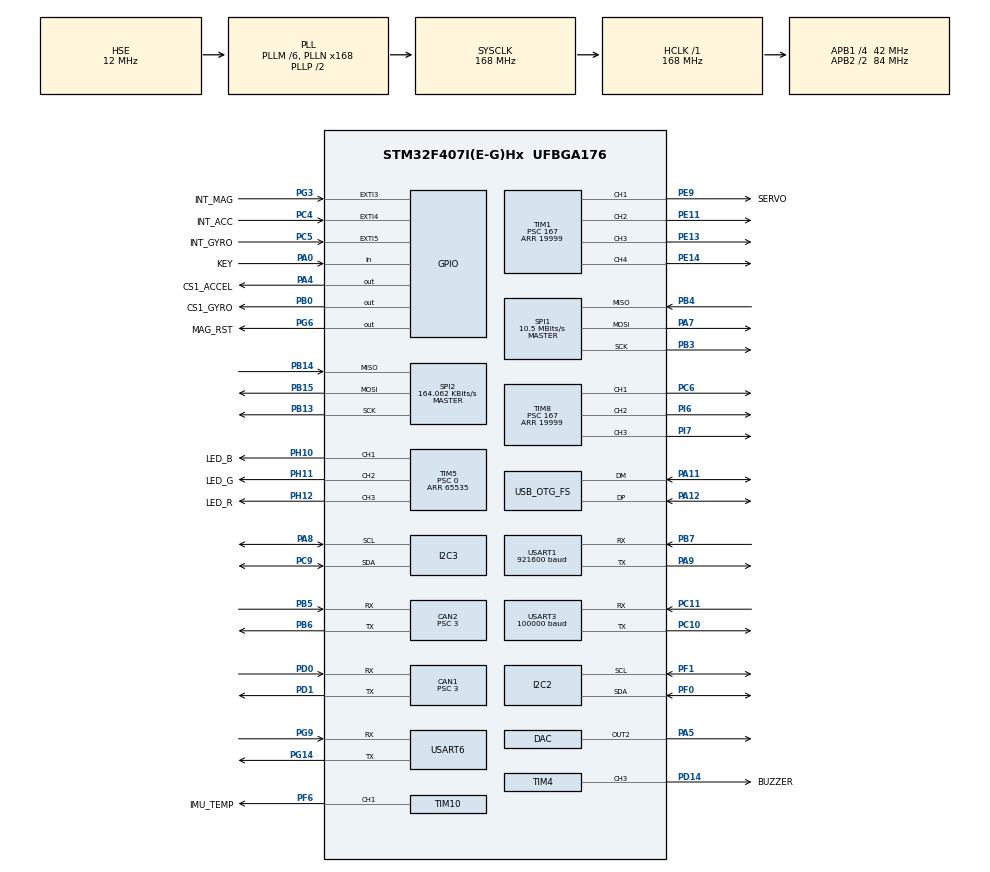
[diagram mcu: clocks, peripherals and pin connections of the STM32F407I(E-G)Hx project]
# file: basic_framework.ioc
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ADC1.Channel-0\#ChannelRegularConversion=ADC_CHANNEL_TEMPSENSOR
ADC1.ClockPrescaler=ADC_CLOCK_SYNC_PCLK_DIV6
ADC1.NbrOfConversionFlag=1
ADC1.Rank-0\#ChannelRegularConversion=1
ADC1.SamplingTime-0\#ChannelRegularConversion=ADC_SAMPLETIME_3CYCLES
ADC1.master=1
CAN1.BS1=CAN_BS1_10TQ
CAN1.BS2=CAN_BS2_3TQ
CAN1.CalculateBaudRate=1000000
CAN1.CalculateTimeQuantum=71.42857142857143
CAN1.NART=ENABLE
CAN1.Prescaler=3
CAN1.TXFP=ENABLE
CAN2.BS1=CAN_BS1_10TQ
CAN2.BS2=CAN_BS2_3TQ
CAN2.CalculateBaudRate=1000000
CAN2.CalculateTimeQuantum=71.42857142857143
CAN2.NART=ENABLE
CAN2.Prescaler=3
CAN2.TXFP=ENABLE
Dma.I2C2_RX.6.Direction=DMA_PERIPH_TO_MEMORY
Dma.I2C2_RX.6.FIFOMode=DMA_FIFOMODE_DISABLE
Dma.I2C2_RX.6.Instance=DMA1_Stream2
Dma.I2C2_RX.6.MemDataAlignment=DMA_MDATAALIGN_BYTE
Dma.I2C2_RX.6.MemInc=DMA_MINC_ENABLE
Dma.I2C2_RX.6.Mode=DMA_NORMAL
Dma.I2C2_RX.6.PeriphDataAlignment=DMA_PDATAALIGN_BYTE
Dma.I2C2_RX.6.PeriphInc=DMA_PINC_DISABLE
Dma.I2C2_RX.6.Priority=DMA_PRIORITY_LOW
Dma.I2C2_TX.7.Direction=DMA_MEMORY_TO_PERIPH
Dma.I2C2_TX.7.FIFOMode=DMA_FIFOMODE_DISABLE
Dma.I2C2_TX.7.Instance=DMA1_Stream7
Dma.I2C2_TX.7.MemDataAlignment=DMA_MDATAALIGN_BYTE
Dma.I2C2_TX.7.MemInc=DMA_MINC_ENABLE
Dma.I2C2_TX.7.Mode=DMA_NORMAL
Dma.I2C2_TX.7.PeriphDataAlignment=DMA_PDATAALIGN_BYTE
Dma.I2C2_TX.7.PeriphInc=DMA_PINC_DISABLE
Dma.I2C2_TX.7.Priority=DMA_PRIORITY_LOW
Dma.Request0=USART6_RX
Dma.Request1=USART6_TX
Dma.Request2=USART1_TX
Dma.Request3=USART1_RX
Dma.Request4=SPI1_RX
Dma.Request5=USART3_RX
Dma.Request6=I2C2_RX
Dma.Request7=I2C2_TX
Dma.Request8=SPI1_TX
Dma.SPI1_RX.4.Direction=DMA_PERIPH_TO_MEMORY
Dma.SPI1_RX.4.FIFOMode=DMA_FIFOMODE_ENABLE
Dma.SPI1_RX.4.FIFOThreshold=DMA_FIFO_THRESHOLD_FULL
Dma.SPI1_RX.4.Instance=DMA2_Stream0
Dma.SPI1_RX.4.MemBurst=DMA_MBURST_SINGLE
Dma.SPI1_RX.4.MemDataAlignment=DMA_MDATAALIGN_BYTE
Dma.SPI1_RX.4.MemInc=DMA_MINC_ENABLE
Dma.SPI1_RX.4.Mode=DMA_NORMAL
Dma.SPI1_RX.4.PeriphBurst=DMA_PBURST_SINGLE
Dma.SPI1_RX.4.PeriphDataAlignment=DMA_PDATAALIGN_BYTE
Dma.SPI1_RX.4.PeriphInc=DMA_PINC_DISABLE
Dma.SPI1_RX.4.Priority=DMA_PRIORITY_HIGH
Dma.SPI1_TX.8.Direction=DMA_MEMORY_TO_PERIPH
Dma.SPI1_TX.8.FIFOMode=DMA_FIFOMODE_DISABLE
Dma.SPI1_TX.8.Instance=DMA2_Stream3
Dma.SPI1_TX.8.MemDataAlignment=DMA_MDATAALIGN_BYTE
Dma.SPI1_TX.8.MemInc=DMA_MINC_ENABLE
Dma.SPI1_TX.8.Mode=DMA_NORMAL
Dma.SPI1_TX.8.PeriphDataAlignment=DMA_PDATAALIGN_BYTE
Dma.SPI1_TX.8.PeriphInc=DMA_PINC_DISABLE
Dma.SPI1_TX.8.Priority=DMA_PRIORITY_HIGH
Dma.USART1_RX.3.Direction=DMA_PERIPH_TO_MEMORY
Dma.USART1_RX.3.FIFOMode=DMA_FIFOMODE_DISABLE
Dma.USART1_RX.3.Instance=DMA2_Stream5
Dma.USART1_RX.3.MemDataAlignment=DMA_MDATAALIGN_BYTE
Dma.USART1_RX.3.MemInc=DMA_MINC_ENABLE
Dma.USART1_RX.3.Mode=DMA_NORMAL
Dma.USART1_RX.3.PeriphDataAlignment=DMA_PDATAALIGN_BYTE
Dma.USART1_RX.3.PeriphInc=DMA_PINC_DISABLE
Dma.USART1_RX.3.Priority=DMA_PRIORITY_VERY_HIGH
Dma.USART1_TX.2.Direction=DMA_MEMORY_TO_PERIPH
Dma.USART1_TX.2.FIFOMode=DMA_FIFOMODE_DISABLE
Dma.USART1_TX.2.Instance=DMA2_Stream7
Dma.USART1_TX.2.MemDataAlignment=DMA_MDATAALIGN_BYTE
Dma.USART1_TX.2.MemInc=DMA_MINC_ENABLE
Dma.USART1_TX.2.Mode=DMA_NORMAL
Dma.USART1_TX.2.PeriphDataAlignment=DMA_PDATAALIGN_BYTE
Dma.USART1_TX.2.PeriphInc=DMA_PINC_DISABLE
Dma.USART1_TX.2.Priority=DMA_PRIORITY_VERY_HIGH
Dma.USART3_RX.5.Direction=DMA_PERIPH_TO_MEMORY
Dma.USART3_RX.5.FIFOMode=DMA_FIFOMODE_DISABLE
Dma.USART3_RX.5.Instance=DMA1_Stream1
Dma.USART3_RX.5.MemDataAlignment=DMA_MDATAALIGN_BYTE
Dma.USART3_RX.5.MemInc=DMA_MINC_ENABLE
Dma.USART3_RX.5.Mode=DMA_NORMAL
Dma.USART3_RX.5.PeriphDataAlignment=DMA_PDATAALIGN_BYTE
Dma.USART3_RX.5.PeriphInc=DMA_PINC_DISABLE
Dma.USART3_RX.5.Priority=DMA_PRIORITY_LOW
Dma.USART6_RX.0.Direction=DMA_PERIPH_TO_MEMORY
Dma.USART6_RX.0.FIFOMode=DMA_FIFOMODE_ENABLE
Dma.USART6_RX.0.FIFOThreshold=DMA_FIFO_THRESHOLD_FULL
Dma.USART6_RX.0.Instance=DMA2_Stream2
Dma.USART6_RX.0.MemBurst=DMA_MBURST_SINGLE
Dma.USART6_RX.0.MemDataAlignment=DMA_MDATAALIGN_BYTE
Dma.USART6_RX.0.MemInc=DMA_MINC_ENABLE
Dma.USART6_RX.0.Mode=DMA_NORMAL
Dma.USART6_RX.0.PeriphBurst=DMA_PBURST_SINGLE
Dma.USART6_RX.0.PeriphDataAlignment=DMA_PDATAALIGN_BYTE
Dma.USART6_RX.0.PeriphInc=DMA_PINC_DISABLE
Dma.USART6_RX.0.Priority=DMA_PRIORITY_HIGH
Dma.USART6_TX.1.Direction=DMA_MEMORY_TO_PERIPH
Dma.USART6_TX.1.FIFOMode=DMA_FIFOMODE_ENABLE
Dma.USART6_TX.1.FIFOThreshold=DMA_FIFO_THRESHOLD_FULL
Dma.USART6_TX.1.Instance=DMA2_Stream6
Dma.USART6_TX.1.MemBurst=DMA_MBURST_SINGLE
Dma.USART6_TX.1.MemDataAlignment=DMA_MDATAALIGN_BYTE
Dma.USART6_TX.1.MemInc=DMA_MINC_ENABLE
Dma.USART6_TX.1.Mode=DMA_NORMAL
Dma.USART6_TX.1.PeriphBurst=DMA_PBURST_SINGLE
Dma.USART6_TX.1.PeriphDataAlignment=DMA_PDATAALIGN_BYTE
Dma.USART6_TX.1.PeriphInc=DMA_PINC_DISABLE
Dma.USART6_TX.1.Priority=DMA_PRIORITY_HIGH
FREERTOS.INCLUDE_vTaskDelayUntil=1
FREERTOS.Tasks01=defaultTask,0,128,StartDefaultTask,Default,NULL,Dynamic,NULL,NULL
FREERTOS.configENABLE_FPU=1
FREERTOS.configMAX_TASK_NAME_LEN=32
FREERTOS.configTOTAL_HEAP_SIZE=20000
FREERTOS.configUSE_COUNTING_SEMAPHORES=1
FREERTOS.configUSE_POSIX_ERRNO=0
FREERTOS.configUSE_TIMERS=0
I2C2.I2C_Mode=I2C_Fast
I2C3.I2C_Mode=I2C_Fast
Mcu.Family=STM32F4
Mcu.Name=STM32F407I(E-G)Hx
Mcu.Package=UFBGA176
NVIC.CAN1_RX0_IRQn=true\:5\:0\:true\:false\:true\:true\:true\:true\:true
NVIC.CAN1_RX1_IRQn=true\:5\:0\:false\:false\:true\:true\:true\:true\:true
NVIC.CAN2_RX0_IRQn=true\:5\:0\:true\:false\:true\:true\:true\:true\:true
NVIC.CAN2_RX1_IRQn=true\:5\:0\:false\:false\:true\:true\:true\:true\:true
NVIC.DMA1_Stream1_IRQn=true\:5\:0\:false\:false\:true\:true\:false\:true\:true
NVIC.DMA1_Stream2_IRQn=true\:5\:0\:false\:false\:true\:true\:false\:true\:true
NVIC.DMA1_Stream7_IRQn=true\:5\:0\:false\:false\:true\:true\:false\:true\:true
NVIC.DMA2_Stream0_IRQn=true\:5\:0\:false\:false\:true\:false\:false\:true\:true
NVIC.DMA2_Stream2_IRQn=true\:5\:0\:false\:false\:true\:true\:false\:true\:true
NVIC.DMA2_Stream3_IRQn=true\:5\:0\:false\:false\:true\:false\:false\:true\:true
NVIC.DMA2_Stream5_IRQn=true\:5\:0\:false\:false\:true\:false\:false\:true\:true
NVIC.DMA2_Stream6_IRQn=true\:5\:0\:true\:false\:true\:true\:false\:true\:true
NVIC.DMA2_Stream7_IRQn=true\:5\:0\:true\:false\:true\:true\:false\:true\:true
NVIC.EXTI3_IRQn=true\:5\:0\:true\:false\:true\:true\:true\:true\:true
NVIC.EXTI4_IRQn=true\:5\:0\:false\:false\:true\:true\:true\:true\:true
NVIC.EXTI9_5_IRQn=true\:5\:0\:false\:false\:true\:true\:true\:true\:true
NVIC.FLASH_IRQn=true\:6\:0\:true\:false\:true\:true\:true\:true\:true
NVIC.I2C2_ER_IRQn=true\:5\:0\:false\:false\:true\:true\:true\:true\:true
NVIC.I2C2_EV_IRQn=true\:5\:0\:false\:false\:true\:true\:true\:true\:true
NVIC.I2C3_ER_IRQn=true\:5\:0\:false\:false\:true\:true\:true\:true\:true
NVIC.I2C3_EV_IRQn=true\:5\:0\:false\:false\:true\:true\:true\:true\:true
NVIC.OTG_FS_IRQn=true\:5\:0\:false\:false\:true\:true\:false\:true\:true
NVIC.PriorityGroup=NVIC_PRIORITYGROUP_4
NVIC.SPI1_IRQn=true\:5\:0\:false\:false\:true\:true\:true\:true\:true
NVIC.SPI2_IRQn=true\:5\:0\:false\:false\:true\:true\:true\:true\:true
NVIC.TIM8_TRG_COM_TIM14_IRQn=true\:15\:0\:false\:false\:true\:false\:false\:true\:true
NVIC.TimeBase=TIM8_TRG_COM_TIM14_IRQn
NVIC.TimeBaseIP=TIM14
NVIC.USART1_IRQn=true\:5\:0\:false\:false\:true\:true\:true\:true\:true
NVIC.USART3_IRQn=true\:5\:0\:false\:false\:true\:true\:true\:true\:true
NVIC.USART6_IRQn=true\:5\:0\:false\:false\:true\:true\:true\:true\:true
PA0-WKUP.GPIO_Label=KEY
PA0-WKUP.GPIO_PuPd=GPIO_PULLUP
PA0-WKUP.Signal=GPIO_Input
PA10.Signal=USB_OTG_FS_ID
PA11.Mode=Device_Only
PA11.Signal=USB_OTG_FS_DM
PA12.Mode=Device_Only
PA12.Signal=USB_OTG_FS_DP
PA13.Mode=Serial_Wire
PA13.Signal=SYS_JTMS-SWDIO
PA14.Mode=Serial_Wire
PA14.Signal=SYS_JTCK-SWCLK
PA4.GPIO_Label=CS1_ACCEL
PA4.GPIO_PuPd=GPIO_PULLUP
PA4.GPIO_Speed=GPIO_SPEED_FREQ_HIGH
PA4.PinState=GPIO_PIN_SET
PA4.Signal=GPIO_Output
PA5.Signal=COMP_DAC2_group
PA7.GPIO_PuPd=GPIO_PULLUP
PA7.Mode=Full_Duplex_Master
PA7.Signal=SPI1_MOSI
PA8.Mode=I2C
PA8.Signal=I2C3_SCL
PA9.Mode=Asynchronous
PA9.Signal=USART1_TX
PB0.GPIO_Label=CS1_GYRO
PB0.GPIO_PuPd=GPIO_PULLUP
PB0.GPIO_Speed=GPIO_SPEED_FREQ_HIGH
PB0.PinState=GPIO_PIN_SET
PB0.Signal=GPIO_Output
PB13.Mode=Full_Duplex_Master
PB13.Signal=SPI2_SCK
PB14.Mode=Full_Duplex_Master
PB14.Signal=SPI2_MISO
PB15.Mode=Full_Duplex_Master
PB15.Signal=SPI2_MOSI
PB3.GPIO_PuPd=GPIO_PULLUP
PB3.Mode=Full_Duplex_Master
PB3.Signal=SPI1_SCK
PB4.GPIO_PuPd=GPIO_PULLUP
PB4.Mode=Full_Duplex_Master
PB4.Signal=SPI1_MISO
PB5.Mode=CAN_Activate
PB5.Signal=CAN2_RX
PB6.Mode=CAN_Activate
PB6.Signal=CAN2_TX
PB7.Mode=Asynchronous
PB7.Signal=USART1_RX
PC10.Mode=Asynchronous
PC10.Signal=USART3_TX
PC11.Mode=Asynchronous
PC11.Signal=USART3_RX
PC4.GPIO_Label=INT_ACC
PC4.GPIO_ModeDefaultEXTI=GPIO_MODE_IT_FALLING
PC4.Signal=GPXTI4
PC5.GPIO_Label=INT_GYRO
PC5.GPIO_ModeDefaultEXTI=GPIO_MODE_IT_FALLING
PC5.Signal=GPXTI5
PC6.Signal=S_TIM8_CH1
PC9.Mode=I2C
PC9.Signal=I2C3_SDA
PD0.Mode=CAN_Activate
PD0.Signal=CAN1_RX
PD1.Mode=CAN_Activate
PD1.Signal=CAN1_TX
PD14.GPIO_Label=BUZZER
PD14.GPIO_PuPd=GPIO_PULLUP
PD14.GPIO_Speed=GPIO_SPEED_FREQ_VERY_HIGH
PD14.Signal=S_TIM4_CH3
PE11.Signal=S_TIM1_CH2
PE13.Signal=S_TIM1_CH3
PE14.Signal=S_TIM1_CH4
PE9.GPIO_Label=SERVO
PE9.Signal=S_TIM1_CH1
PF0.Mode=I2C
PF0.Signal=I2C2_SDA
PF1.Mode=I2C
PF1.Signal=I2C2_SCL
PF6.GPIO_Label=IMU_TEMP
PF6.GPIO_PuPd=GPIO_PULLUP
PF6.GPIO_Speed=GPIO_SPEED_FREQ_HIGH
PF6.Signal=S_TIM10_CH1
PG14.Mode=Asynchronous
PG14.Signal=USART6_TX
PG3.GPIO_Label=INT_MAG
PG3.GPIO_ModeDefaultEXTI=GPIO_MODE_IT_FALLING
PG3.GPIO_PuPd=GPIO_PULLUP
PG3.Signal=GPXTI3
PG6.GPIO_Label=MAG_RST
PG6.Signal=GPIO_Output
PG9.Mode=Asynchronous
PG9.Signal=USART6_RX
PH0-OSC_IN.Mode=HSE-External-Oscillator
PH0-OSC_IN.Signal=RCC_OSC_IN
PH1-OSC_OUT.Mode=HSE-External-Oscillator
PH1-OSC_OUT.Signal=RCC_OSC_OUT
PH10.GPIO_Label=LED_B
PH10.GPIO_PuPd=GPIO_PULLUP
PH10.GPIO_Speed=GPIO_SPEED_FREQ_HIGH
PH10.Signal=S_TIM5_CH1
PH11.GPIO_Label=LED_G
PH11.GPIO_PuPd=GPIO_PULLUP
PH11.GPIO_Speed=GPIO_SPEED_FREQ_HIGH
PH11.Signal=S_TIM5_CH2
PH12.GPIO_Label=LED_R
PH12.GPIO_PuPd=GPIO_PULLUP
PH12.GPIO_Speed=GPIO_SPEED_FREQ_HIGH
PH12.Signal=S_TIM5_CH3
PI6.Signal=S_TIM8_CH2
PI7.Signal=S_TIM8_CH3
ProjectManager.HeapSize=0x5000
ProjectManager.StackSize=0x5000
ProjectManager.TargetToolchain=CMake
RCC.48MHZClocksFreq_Value=48000000
RCC.AHBFreq_Value=168000000
RCC.APB1CLKDivider=RCC_HCLK_DIV4
RCC.APB1Freq_Value=42000000
RCC.APB1TimFreq_Value=84000000
RCC.APB2CLKDivider=RCC_HCLK_DIV2
RCC.APB2Freq_Value=84000000
RCC.APB2TimFreq_Value=168000000
RCC.CortexFreq_Value=168000000
RCC.HCLKFreq_Value=168000000
RCC.HSE_VALUE=12000000
RCC.HSI_VALUE=16000000
RCC.LSE_VALUE=32768
RCC.PLLM=6
RCC.PLLN=168
RCC.PLLQ=7
RCC.RCC_RTC_Clock_SourceVirtual=RCC_RTCCLKSOURCE_HSE_DIV30
RCC.RCC_RTC_Clock_Source_FROM_HSE=RCC_RTCCLKSOURCE_HSE_DIV30
RCC.SYSCLKFreq_VALUE=168000000
RCC.SYSCLKSource=RCC_SYSCLKSOURCE_PLLCLK
RCC.VCOOutputFreq_Value=336000000
RTC.AsynchPrediv=124
RTC.SynchPrediv=3199
SH.COMP_DAC2_group.0=DAC_OUT2,DAC_OUT2
SH.S_TIM10_CH1.0=TIM10_CH1,PWM Generation1 CH1
SH.S_TIM1_CH1.0=TIM1_CH1,PWM Generation1 CH1
SH.S_TIM1_CH2.0=TIM1_CH2,PWM Generation2 CH2
SH.S_TIM1_CH3.0=TIM1_CH3,PWM Generation3 CH3
SH.S_TIM1_CH4.0=TIM1_CH4,PWM Generation4 CH4
SH.S_TIM4_CH3.0=TIM4_CH3,PWM Generation3 CH3
SH.S_TIM5_CH1.0=TIM5_CH1,PWM Generation1 CH1
SH.S_TIM5_CH2.0=TIM5_CH2,PWM Generation2 CH2
SH.S_TIM5_CH3.0=TIM5_CH3,PWM Generation3 CH3
SH.S_TIM8_CH1.0=TIM8_CH1,Output Compare1 CH1
SH.S_TIM8_CH2.0=TIM8_CH2,Output Compare2 CH2
SH.S_TIM8_CH3.0=TIM8_CH3,Output Compare3 CH3
SPI1.BaudRatePrescaler=SPI_BAUDRATEPRESCALER_8
SPI1.CLKPhase=SPI_PHASE_2EDGE
SPI1.CLKPolarity=SPI_POLARITY_HIGH
SPI1.CalculateBaudRate=10.5 MBits/s
SPI1.Direction=SPI_DIRECTION_2LINES
SPI1.Mode=SPI_MODE_MASTER
SPI1.VirtualType=VM_MASTER
SPI2.BaudRatePrescaler=SPI_BAUDRATEPRESCALER_256
SPI2.CLKPhase=SPI_PHASE_2EDGE
SPI2.CLKPolarity=SPI_POLARITY_HIGH
SPI2.CalculateBaudRate=164.062 KBits/s
SPI2.Direction=SPI_DIRECTION_2LINES
SPI2.Mode=SPI_MODE_MASTER
SPI2.VirtualType=VM_MASTER
STMicroelectronics.X-CUBE-ALGOBUILD.1.3.0.LibraryCcDSPOoLibraryJjDSPOoLibrary=true
TIM1.Channel-PWM\ Generation1\ CH1=TIM_CHANNEL_1
TIM1.Channel-PWM\ Generation2\ CH2=TIM_CHANNEL_2
TIM1.Channel-PWM\ Generation3\ CH3=TIM_CHANNEL_3
TIM1.Channel-PWM\ Generation4\ CH4=TIM_CHANNEL_4
TIM1.Period=19999
TIM1.Prescaler=167
TIM10.Channel=TIM_CHANNEL_1
TIM10.Period=5000-1
TIM10.Prescaler=167
TIM4.Channel-PWM\ Generation3\ CH3=TIM_CHANNEL_3
TIM4.Period=65535
TIM4.Prescaler=167
TIM5.Channel-PWM\ Generation1\ CH1=TIM_CHANNEL_1
TIM5.Channel-PWM\ Generation2\ CH2=TIM_CHANNEL_2
TIM5.Channel-PWM\ Generation3\ CH3=TIM_CHANNEL_3
TIM5.Period=65535
TIM5.Prescaler=0
TIM8.Channel-Output\ Compare1\ CH1=TIM_CHANNEL_1
TIM8.Channel-Output\ Compare2\ CH2=TIM_CHANNEL_2
TIM8.Channel-Output\ Compare3\ CH3=TIM_CHANNEL_3
TIM8.Period=19999
TIM8.Prescaler=167
USART1.BaudRate=921600
USART1.VirtualMode=VM_ASYNC
USART3.BaudRate=100000
USART3.Parity=PARITY_EVEN
USART3.VirtualMode=VM_ASYNC
USART3.WordLength=WORDLENGTH_9B
USART6.VirtualMode=VM_ASYNC
USB_DEVICE.CLASS_NAME_FS=CDC
USB_DEVICE.MANUFACTURER_STRING-CDC_FS=YueLuEmbedded
USB_DEVICE.PID_CDC_FS=202
USB_DEVICE.PRODUCT_STRING_CDC_FS=Motor Bench CDC
USB_DEVICE.VirtualMode-CDC_FS=Cdc
USB_DEVICE.VirtualModeFS=Cdc_FS
USB_OTG_FS.VirtualMode=Device_Only
VP_ADC1_TempSens_Input.Mode=IN-TempSens
VP_ADC1_Vref_Input.Mode=IN-Vrefint
VP_CRC_VS_CRC.Mode=CRC_Activate
VP_FREERTOS_VS_CMSIS_V1.Mode=CMSIS_V1
VP_RNG_VS_RNG.Mode=RNG_Activate
VP_RTC_VS_RTC_Activate.Mode=RTC_Enabled
VP_STMicroelectronics.X-CUBE-ALGOBUILD_VS_DSPOoLibraryJjLibrary_1.3.0_1.3.0.Mode=DSPOoLibraryJjLibrary
VP_SYS_VS_tim14.Mode=TIM14
VP_TIM10_VS_ClockSourceINT.Mode=Enable_Timer
VP_TIM1_VS_ClockSourceINT.Mode=Internal
VP_TIM4_VS_ClockSourceINT.Mode=Internal
VP_TIM5_VS_ClockSourceINT.Mode=Internal
VP_TIM8_VS_ClockSourceINT.Mode=Internal
VP_USB_DEVICE_VS_USB_DEVICE_CDC_FS.Mode=CDC_FS
board=custom

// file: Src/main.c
/* USER CODE BEGIN Header */
/**
  ******************************************************************************
  * @file           : main.c
  * @brief          : Main program body
  ******************************************************************************
  * @attention
  *
  * Copyright (c) 2026 STMicroelectronics.
  * All rights reserved.
  *
  * This software is licensed under terms that can be found in the LICENSE file
  * in the root directory of this software component.
  * If no LICENSE file comes with this software, it is provided AS-IS.
  *
  ******************************************************************************
  */
/* USER CODE END Header */
#include "main.h"
#include "cmsis_os.h"
#include "adc.h"
#include "can.h"
#include "crc.h"
#include "dac.h"
#include "dma.h"
#include "i2c.h"
#include "rng.h"
#include "rtc.h"
#include "spi.h"
#include "tim.h"
#include "usart.h"
#include "usb_device.h"
#include "gpio.h"

/* USER CODE BEGIN Includes */
#include "robot.h"
#include "SEGGER_RTT.h"
/* USER CODE END Includes */

void SystemClock_Config(void);
void MX_FREERTOS_Init(void);

int main(void)
{
  /* USER CODE BEGIN 1 */
  SEGGER_RTT_Init();
  SEGGER_RTT_WriteString(0, "\r\n[P] === main() entered ===\r\n");
/* USER CODE END 1 */

  /* MCU Configuration--------------------------------------------------------*/

  /* Reset of all peripherals, Initializes the Flash interface and the Systick. */
  HAL_Init();

  /* Configure the system clock */
  SystemClock_Config();

  /* Initialize all configured peripherals */
  MX_GPIO_Init();
  MX_DMA_Init();
  MX_ADC1_Init();
  MX_CAN1_Init();
  MX_CAN2_Init();
  MX_SPI1_Init();
  MX_TIM4_Init();
  MX_TIM5_Init();
  MX_USART3_UART_Init();
  MX_RNG_Init();
  MX_RTC_Init();
  MX_TIM1_Init();
  MX_TIM10_Init();
  MX_USART1_UART_Init();
  MX_USART6_UART_Init();
  MX_TIM8_Init();
  MX_I2C2_Init();
  MX_I2C3_Init();
  MX_SPI2_Init();
  MX_CRC_Init();
  MX_DAC_Init();
  /* USER CODE BEGIN 2 */
  /* DWT and the bench callbacks must be ready before USB enumeration. */
  RobotInit();
/* USER CODE END 2 */

  /* Call init function for freertos objects (in freertos.c) */
  MX_FREERTOS_Init();

  /* Start scheduler */
  osKernelStart();

  /* We should never get here as control is now taken by the scheduler */
  /* Infinite loop */
  while (1)
  {

  }
}

void SystemClock_Config(void)
{
  RCC_OscInitTypeDef RCC_OscInitStruct = {0};
  RCC_ClkInitTypeDef RCC_ClkInitStruct = {0};

  /** Configure the main internal regulator output voltage
  */
  __HAL_RCC_PWR_CLK_ENABLE();
  __HAL_PWR_VOLTAGESCALING_CONFIG(PWR_REGULATOR_VOLTAGE_SCALE1);

  /** Initializes the RCC Oscillators according to the specified parameters
  * in the RCC_OscInitTypeDef structure.
  */
  RCC_OscInitStruct.OscillatorType = RCC_OSCILLATORTYPE_HSE;
  RCC_OscInitStruct.HSEState = RCC_HSE_ON;
  RCC_OscInitStruct.PLL.PLLState = RCC_PLL_ON;
  RCC_OscInitStruct.PLL.PLLSource = RCC_PLLSOURCE_HSE;
  RCC_OscInitStruct.PLL.PLLM = 6;
  RCC_OscInitStruct.PLL.PLLN = 168;
  RCC_OscInitStruct.PLL.PLLP = RCC_PLLP_DIV2;
  RCC_OscInitStruct.PLL.PLLQ = 7;
  if (HAL_RCC_OscConfig(&RCC_OscInitStruct) != HAL_OK)
  {
    Error_Handler();
  }

  /** Initializes the CPU, AHB and APB buses clocks
  */
  RCC_ClkInitStruct.ClockType = RCC_CLOCKTYPE_HCLK|RCC_CLOCKTYPE_SYSCLK
                              |RCC_CLOCKTYPE_PCLK1|RCC_CLOCKTYPE_PCLK2;
  RCC_ClkInitStruct.SYSCLKSource = RCC_SYSCLKSOURCE_PLLCLK;
  RCC_ClkInitStruct.AHBCLKDivider = RCC_SYSCLK_DIV1;
  RCC_ClkInitStruct.APB1CLKDivider = RCC_HCLK_DIV4;
  RCC_ClkInitStruct.APB2CLKDivider = RCC_HCLK_DIV2;

  if (HAL_RCC_ClockConfig(&RCC_ClkInitStruct, FLASH_LATENCY_5) != HAL_OK)
  {
    Error_Handler();
  }
}

void HAL_TIM_PeriodElapsedCallback(TIM_HandleTypeDef *htim)
{
  if (htim->Instance == TIM14) {
    HAL_IncTick();
  }
}

void Error_Handler(void)
{
  __disable_irq();
  while (1)
  {
  }
}

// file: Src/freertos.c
/* USER CODE BEGIN Header */
/**
  ******************************************************************************
  * File Name          : freertos.c
  * Description        : Code for freertos applications
  ******************************************************************************
  * @attention
  *
  * Copyright (c) 2026 STMicroelectronics.
  * All rights reserved.
  *
  * This software is licensed under terms that can be found in the LICENSE file
  * in the root directory of this software component.
  * If no LICENSE file comes with this software, it is provided AS-IS.
  *
  ******************************************************************************
  */
/* USER CODE END Header */

#include "FreeRTOS.h"
#include "task.h"
#include "main.h"
#include "cmsis_os.h"

/* USER CODE BEGIN Includes */
#include "motor_task.h"
#include "daemon.h"
#include "usb_device.h"
/* USER CODE END Includes */

/* USER CODE BEGIN Variables */
osThreadId motorTaskHandle;
osThreadId daemonTaskHandle;
/* USER CODE END Variables */
osThreadId defaultTaskHandle;

/* USER CODE BEGIN FunctionPrototypes */
void StartMOTORTASK(void const *argument);
void StartDAEMONTASK(void const *argument);
/* USER CODE END FunctionPrototypes */

void StartDefaultTask(void const * argument);

extern void MX_USB_DEVICE_Init(void);
void MX_FREERTOS_Init(void); /* (MISRA C 2004 rule 8.1) */

/* GetIdleTaskMemory prototype (linked to static allocation support) */
void vApplicationGetIdleTaskMemory( StaticTask_t **ppxIdleTaskTCBBuffer, StackType_t **ppxIdleTaskStackBuffer, uint32_t *pulIdleTaskStackSize );

/* USER CODE BEGIN GET_IDLE_TASK_MEMORY */
static StaticTask_t xIdleTaskTCBBuffer;
static StackType_t xIdleStack[configMINIMAL_STACK_SIZE];

void vApplicationGetIdleTaskMemory( StaticTask_t **ppxIdleTaskTCBBuffer, StackType_t **ppxIdleTaskStackBuffer, uint32_t *pulIdleTaskStackSize )
{
  *ppxIdleTaskTCBBuffer = &xIdleTaskTCBBuffer;
  *ppxIdleTaskStackBuffer = &xIdleStack[0];
  *pulIdleTaskStackSize = configMINIMAL_STACK_SIZE;
  /* place for user code */
}
/* USER CODE END GET_IDLE_TASK_MEMORY */

void MX_FREERTOS_Init(void) {

  /* USER CODE BEGIN RTOS_QUEUES */
  /* Preserve the working firmware order: RobotInit -> USB -> scheduler. */
  MX_USB_DEVICE_Init();
/* USER CODE END RTOS_QUEUES */

  /* Create the thread(s) */
  /* definition and creation of defaultTask */
  osThreadDef(defaultTask, StartDefaultTask, osPriorityNormal, 0, 128);
  defaultTaskHandle = osThreadCreate(osThread(defaultTask), NULL);

  /* USER CODE BEGIN RTOS_THREADS */
  /* One task owns bench parsing and telemetry; retain the old app stack budget. */
  osThreadDef(motortask, StartMOTORTASK, osPriorityNormal, 0, 1024);
  motorTaskHandle = osThreadCreate(osThread(motortask), NULL);

  osThreadDef(daemontask, StartDAEMONTASK, osPriorityNormal, 0, 128);
  daemonTaskHandle = osThreadCreate(osThread(daemontask), NULL);
  if (defaultTaskHandle == NULL || motorTaskHandle == NULL || daemonTaskHandle == NULL)
  {
    Error_Handler();
  }
/* USER CODE END RTOS_THREADS */

}

void StartDefaultTask(void const * argument)
{
  /* init code for USB_DEVICE */
  MX_USB_DEVICE_Init();
  /* USER CODE BEGIN StartDefaultTask */
  vTaskDelete(NULL);
/* USER CODE END StartDefaultTask */
}

/* USER CODE BEGIN Application */
void StartMOTORTASK(void const *argument)
{
  for (;;)
  {
    MotorControlTask();
    osDelay(2); /* 500 Hz */
  }
}

void StartDAEMONTASK(void const *argument)
{
  for (;;)
  {
    DaemonTask();
    osDelay(10); /* 100 Hz; host timeout is 150 ticks = 1.5 s. */
  }
}
/* USER CODE END Application */
